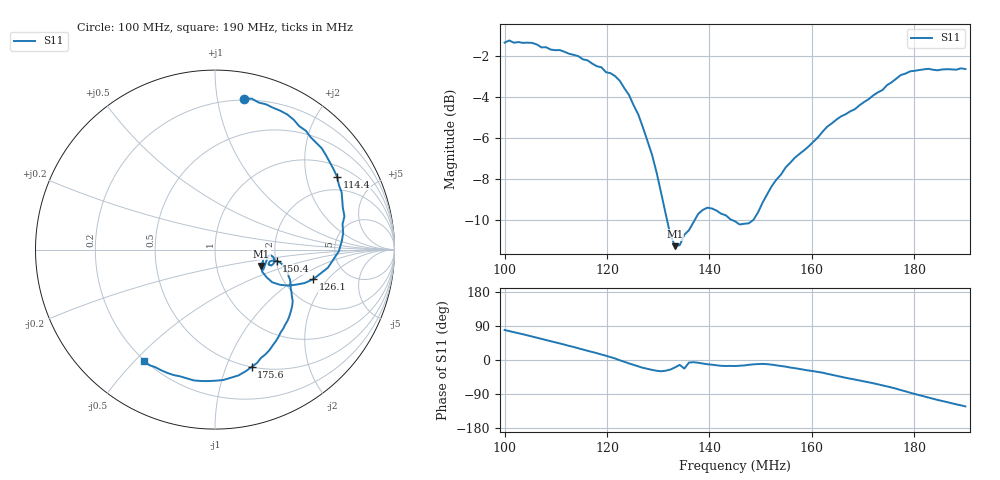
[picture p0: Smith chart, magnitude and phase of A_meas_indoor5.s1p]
!File created by NanoVNA-F V2
# Hz S RI R 50
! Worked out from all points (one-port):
!   101 points, 100 MHz to 190 MHz, reference 50 ohm
!   lowest |S11| = -11.3 dB at 133.3 MHz (marker M1), VSWR 1.75, Z = 82.7 - j16.3 ohm
!   |S11| at or under -10 dB: 131.7 MHz to 137.1 MHz (5.401 MHz wide, 4.02 % of centre); 144.5 MHz to 148.5 MHz (4.091 MHz wide, 2.79 % of centre)
!   S11 on the Smith chart (normalised r, x): 100 MHz: 0.19, +1.19; 114.4 MHz: 1.39, +3.04; 126.1 MHz: 2.90, -1.42; 150.4 MHz: 2.02, -0.29; 175.6 MHz: 0.50, -1.23; 190 MHz: 0.20, -0.53
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1e8  0.161 0.84
1.009e8  0.2044 0.8411
1.054e8  0.4025 0.7529
1.117e8  0.6172 0.5279
1.144e8  0.6801 0.4071
1.189e8  0.7212 0.1858
1.225e8  0.6902 -0.00895
1.243e8  0.6295 -0.1006
1.261e8  0.5477 -0.165
1.279e8  0.4526 -0.1952
1.297e8  0.3624 -0.1962
1.315e8  0.2871 -0.1538
1.333e8  0.2576 -0.0909
1.342e8  0.2678 -0.061
1.351e8  0.2688 -0.1121
1.36e8  0.2965 -0.0356
1.396e8  0.3326 -0.0655
1.45e8  0.302 -0.0866
1.477e8  0.303 -0.0682
1.504e8  0.3434 -0.0621
1.567e8  0.4172 -0.1653
1.621e8  0.433 -0.286
1.675e8  0.3803 -0.4402
1.72e8  0.3047 -0.5583
1.756e8  0.2038 -0.6537
1.792e8  0.0464 -0.7265
1.828e8  -0.1176 -0.7289
1.9e8  -0.3957 -0.6223
